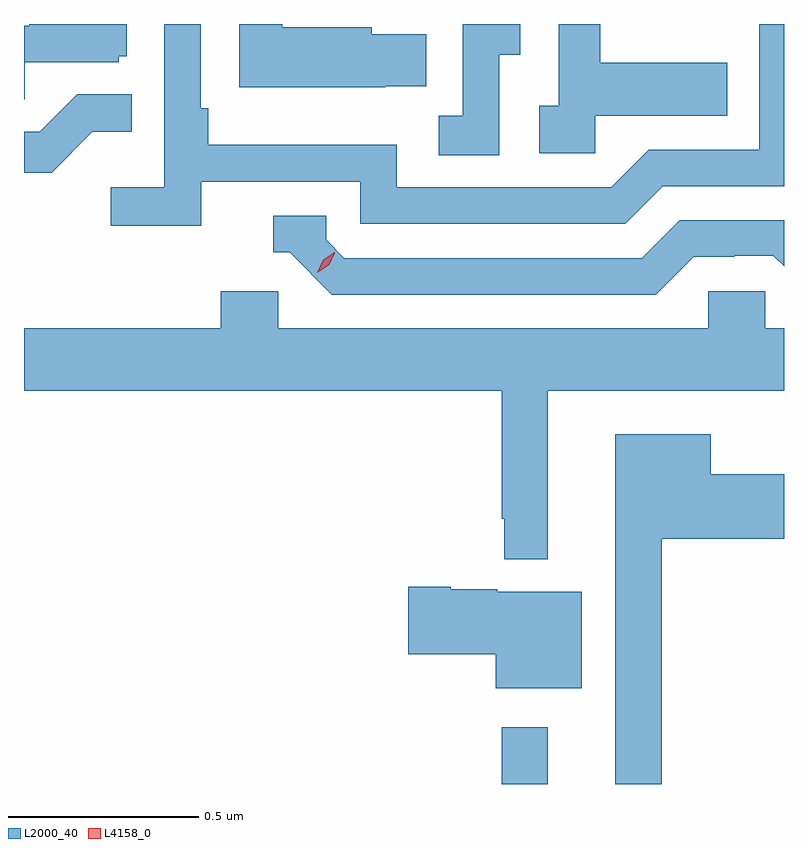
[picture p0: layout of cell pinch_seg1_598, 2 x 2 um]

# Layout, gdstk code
import gdstk
lib = gdstk.Library(unit=1e-6, precision=1e-09)
def R(c, l, rs):  # rectangles x0, y0, x1, y1
    for r in rs: c.add(gdstk.rectangle(r[:2], r[2:], *l))
def P(c, l, *ps):  # polygons
    for p in ps: c.add(gdstk.Polygon(p, *l))
L2000_40 = (2000, 40)
L4158_0 = (4158, 0)

pinch_seg1_598 = lib.new_cell('pinch_seg1_598')
R(pinch_seg1_598, L2000_40, [(1019.634,505.409,1019.755,505.558)])
P(pinch_seg1_598, L2000_40, [(1018.844,506.994),(1019.262,506.994),(1019.262,506.883),(1019.959,506.883),(1020.058,506.982),(1020.377,506.982),(1020.377,507.409),(1020.312,507.409),(1020.312,507.078),(1020.021,507.078),(1019.922,506.979),(1019.358,506.979),(1019.358,507.091),(1018.862,507.091),(1018.862,507.187),(1018.842,507.187),(1018.842,507.409),(1018.746,507.409),(1018.746,506.98),(1018.605,506.98),(1018.605,506.878),(1018.844,506.878)],
  [(1018.379,507.309),(1018.626,507.309),(1018.626,507.324),(1018.648,507.324),(1018.648,507.409),(1018.391,507.409),(1018.391,507.405),(1018.377,507.405),(1018.377,507.211),(1018.379,507.211)],
  [(1019.88,507.167),(1020.227,507.167),(1020.227,507.307),(1019.893,507.307),(1019.893,507.409),(1019.784,507.409),(1019.784,507.194),(1019.733,507.194),(1019.733,507.069),(1019.88,507.069)],
  [(1019.628,507.328),(1019.683,507.328),(1019.683,507.409),(1019.532,507.409),(1019.532,507.167),(1019.469,507.167),(1019.469,507.064),(1019.628,507.064)],
  [(1019.327,507.245),(1019.435,507.245),(1019.435,507.382),(1019.292,507.382),(1019.292,507.4),(1019.056,507.4),(1019.056,507.408),(1018.944,507.408),(1018.944,507.242),(1019.327,507.242)],
  [(1018.557,507.125),(1018.661,507.125),(1018.661,507.224),(1018.517,507.224),(1018.419,507.126),(1018.377,507.126),(1018.377,507.018),(1018.45,507.018)],
  [(1020.139,506.796),(1020.246,506.796),(1020.246,506.799),(1020.349,506.799),(1020.377,506.771),(1020.377,506.892),(1020.102,506.892),(1020.003,506.793),(1019.22,506.793),(1019.172,506.841),(1019.172,506.904),(1019.033,506.904),(1019.033,506.808),(1019.076,506.808),(1019.187,506.697),(1020.04,506.697)],
  [(1019.755,506.444),(1020.377,506.444),(1020.377,506.608),(1020.327,506.608),(1020.327,506.706),(1020.177,506.706),(1020.177,506.608),(1019.046,506.608),(1019.046,506.706),(1018.895,506.706),(1018.895,506.608),(1018.377,506.608),(1018.377,506.444),(1019.634,506.444),(1019.634,506.107),(1019.641,506.107),(1019.641,506),(1019.755,506)],
  [(1020.055,506.054),(1020.377,506.054),(1020.377,506.224),(1020.184,506.224),(1020.184,506.329),(1019.933,506.329),(1019.933,505.409),(1020.055,505.409)],
  [(1019.845,505.915),(1019.622,505.915),(1019.622,505.921),(1019.5,505.921),(1019.5,505.928),(1019.388,505.928),(1019.388,505.75),(1019.618,505.75),(1019.618,505.661),(1019.845,505.661)])
P(pinch_seg1_598, L4158_0, [(1019.149,506.755),(1019.149,506.755),(1019.165,506.788),(1019.195,506.808),(1019.195,506.808),(1019.195,506.807),(1019.18,506.775),(1019.149,506.755)])

lib.write_gds('pinch_seg1_598.gds')
